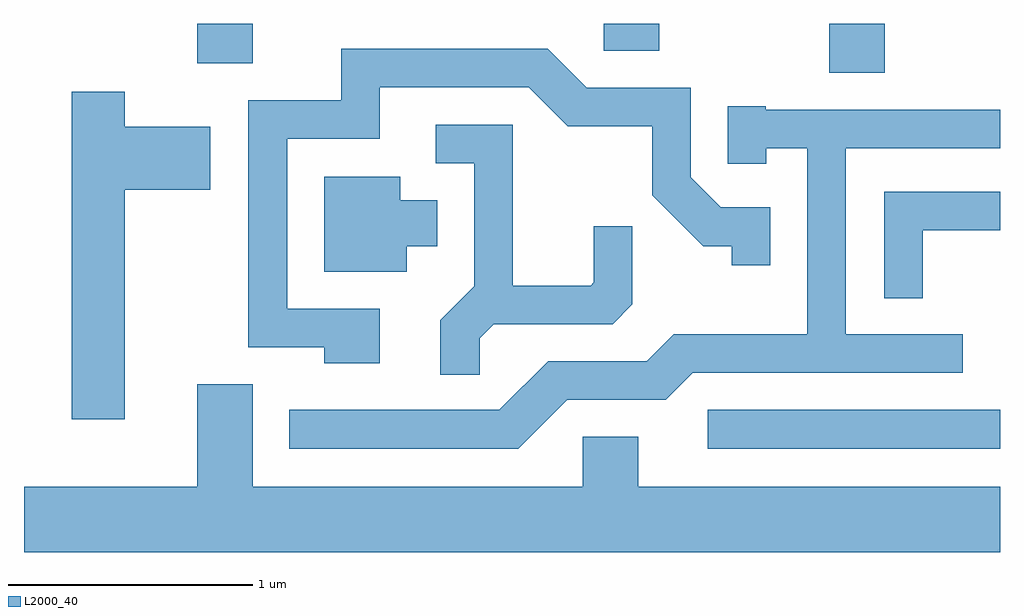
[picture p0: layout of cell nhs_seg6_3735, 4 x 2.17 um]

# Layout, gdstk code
import gdstk
lib = gdstk.Library(unit=1e-6, precision=1e-09)
def R(c, l, rs):  # rectangles x0, y0, x1, y1
    for r in rs: c.add(gdstk.rectangle(r[:2], r[2:], *l))
def P(c, l, *ps):  # polygons
    for p in ps: c.add(gdstk.Polygon(p, *l))
L2000_40 = (2000, 40)

nhs_seg6_3735 = lib.new_cell('nhs_seg6_3735')
R(nhs_seg6_3735, L2000_40, [(300.413,1590.421,301.611,1590.579), (300.911,1591.961,301.139,1592.162), (298.321,1592.001,298.549,1592.162), (299.986,1592.051,300.214,1592.162)])
P(nhs_seg6_3735, L2000_40, [(299.069,1590.994),(298.689,1590.994),(298.689,1591.691),(299.069,1591.691),(299.069,1591.901),(299.679,1591.901),(299.839,1591.741),(300.186,1591.741),(300.186,1591.459),(300.394,1591.251),(300.511,1591.251),(300.511,1591.173),(300.669,1591.173),(300.669,1591.409),(300.467,1591.409),(300.344,1591.532),(300.344,1591.899),(299.917,1591.899),(299.757,1592.059),(298.911,1592.059),(298.911,1591.849),(298.531,1591.849),(298.531,1590.836),(298.841,1590.836),(298.841,1590.771),(299.069,1590.771)],
  [(298.024,1591.481),(298.374,1591.481),(298.374,1591.739),(298.024,1591.739),(298.024,1591.884),(297.806,1591.884),(297.806,1590.541),(298.024,1590.541)],
  [(299.837,1590.621),(300.242,1590.621),(300.352,1590.731),(301.458,1590.731),(301.458,1590.889),(300.979,1590.889),(300.979,1591.651),(301.611,1591.651),(301.611,1591.809),(300.65,1591.809),(300.65,1591.824),(300.496,1591.824),(300.496,1591.588),(300.654,1591.588),(300.654,1591.651),(300.821,1591.651),(300.821,1590.889),(300.274,1590.889),(300.164,1590.779),(299.759,1590.779),(299.559,1590.579),(298.698,1590.579),(298.698,1590.421),(299.637,1590.421)],
  [(299.479,1590.874),(299.537,1590.931),(300.024,1590.931),(300.104,1591.012),(300.104,1591.333),(299.946,1591.333),(299.946,1591.102),(299.934,1591.089),(299.614,1591.089),(299.614,1591.749),(299.298,1591.749),(299.298,1591.591),(299.456,1591.591),(299.456,1591.087),(299.316,1590.947),(299.316,1590.723),(299.479,1590.723)],
  [(299.179,1591.251),(299.304,1591.251),(299.304,1591.439),(299.154,1591.439),(299.154,1591.534),(298.841,1591.534),(298.841,1591.146),(299.179,1591.146)],
  [(301.294,1591.316),(301.611,1591.316),(301.611,1591.474),(301.136,1591.474),(301.136,1591.038),(301.294,1591.038)],
  [(301.611,1590.264),(300.129,1590.264),(300.129,1590.469),(299.901,1590.469),(299.901,1590.264),(298.549,1590.264),(298.549,1590.684),(298.321,1590.684),(298.321,1590.264),(297.611,1590.264),(297.611,1589.996),(301.611,1589.996)])

lib.write_gds('nhs_seg6_3735.gds')
